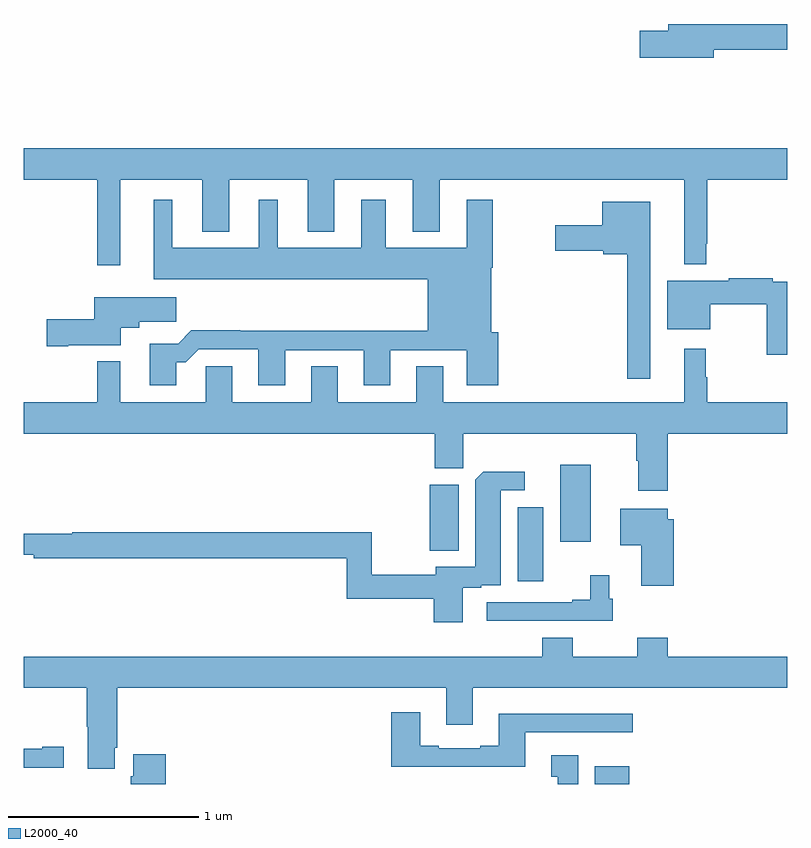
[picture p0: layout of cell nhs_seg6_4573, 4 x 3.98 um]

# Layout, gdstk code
import gdstk
lib = gdstk.Library(unit=1e-6, precision=1e-09)
def R(c, l, rs):  # rectangles x0, y0, x1, y1
    for r in rs: c.add(gdstk.rectangle(r[:2], r[2:], *l))
def P(c, l, *ps):  # polygons
    for p in ps: c.add(gdstk.Polygon(p, *l))
L2000_40 = (2000, 40)

nhs_seg6_4573 = lib.new_cell('nhs_seg6_4573')
R(nhs_seg6_4573, L2000_40, [(383.993,945.5,384.172,945.592), (383.588,946.562,383.722,946.951), (383.126,946.723,383.278,947.07), (383.81,946.77,383.971,947.173)])
P(nhs_seg6_4573, L2000_40, [(384.616,949.348),(385,949.348),(385,949.484),(384.377,949.484),(384.377,949.448),(384.228,949.448),(384.228,949.306),(384.616,949.306)],
  [(381.505,948.668),(381.935,948.668),(381.935,948.395),(382.075,948.395),(382.075,948.668),(382.487,948.668),(382.487,948.395),(382.627,948.395),(382.627,948.668),(383.039,948.668),(383.039,948.395),(383.179,948.395),(383.179,948.668),(384.461,948.668),(384.461,948.224),(384.576,948.224),(384.576,948.331),(384.583,948.331),(384.583,948.668),(385,948.668),(385,948.832),(381,948.832),(381,948.668),(381.384,948.668),(381.384,948.219),(381.505,948.219)],
  [(381.799,947.711),(381.848,947.711),(381.915,947.778),(382.229,947.778),(382.229,947.589),(382.369,947.589),(382.369,947.775),(382.781,947.775),(382.781,947.589),(382.921,947.589),(382.921,947.775),(383.321,947.775),(383.321,947.589),(383.486,947.589),(383.486,947.868),(383.449,947.868),(383.449,948.206),(383.457,948.206),(383.457,948.562),(383.321,948.562),(383.321,948.31),(382.897,948.31),(382.897,948.562),(382.769,948.562),(382.769,948.31),(382.33,948.31),(382.33,948.562),(382.232,948.562),(382.232,948.31),(381.778,948.31),(381.778,948.562),(381.68,948.562),(381.68,948.146),(383.117,948.146),(383.117,947.876),(382.133,947.876),(382.133,947.879),(381.878,947.879),(381.808,947.809),(381.659,947.809),(381.659,947.589),(381.799,947.589)],
  [(384.283,948.553),(384.032,948.553),(384.032,948.43),(383.784,948.43),(383.784,948.296),(384.036,948.296),(384.036,948.278),(384.162,948.278),(384.162,947.625),(384.283,947.625)],
  [(385,948.132),(384.926,948.132),(384.926,948.152),(384.694,948.152),(384.694,948.139),(384.371,948.139),(384.371,947.885),(384.598,947.885),(384.598,948.016),(384.895,948.016),(384.895,947.751),(385,947.751)],
  [(381.232,947.801),(381.508,947.801),(381.508,947.891),(381.604,947.891),(381.604,947.923),(381.799,947.923),(381.799,948.052),(381.368,948.052),(381.368,947.936),(381.12,947.936),(381.12,947.794),(381.232,947.794)],
  [(384.374,947.336),(385,947.336),(385,947.5),(384.583,947.5),(384.583,947.633),(384.575,947.633),(384.575,947.782),(384.461,947.782),(384.461,947.5),(383.197,947.5),(383.197,947.69),(383.057,947.69),(383.057,947.5),(382.645,947.5),(382.645,947.69),(382.505,947.69),(382.505,947.5),(382.093,947.5),(382.093,947.69),(381.954,947.69),(381.954,947.5),(381.505,947.5),(381.505,947.716),(381.384,947.716),(381.384,947.5),(381,947.5),(381,947.336),(383.153,947.336),(383.153,947.155),(383.303,947.155),(383.303,947.336),(384.209,947.336),(384.209,947.195),(384.221,947.195),(384.221,947.037),(384.374,947.037)],
  [(383.299,946.53),(383.396,946.53),(383.396,946.542),(383.5,946.542),(383.5,947.04),(383.626,947.04),(383.626,947.138),(383.407,947.138),(383.366,947.096),(383.366,946.638),(383.159,946.638),(383.159,946.598),(382.822,946.598),(382.822,946.82),(381.254,946.82),(381.254,946.813),(381,946.813),(381,946.703),(381.052,946.703),(381.052,946.684),(382.693,946.684),(382.693,946.47),(383.147,946.47),(383.147,946.347),(383.299,946.347)],
  [(384.407,946.887),(384.376,946.887),(384.376,946.942),(384.125,946.942),(384.125,946.751),(384.236,946.751),(384.236,946.539),(384.407,946.539)],
  [(384.086,946.47),(384.067,946.47),(384.067,946.594),(383.968,946.594),(383.968,946.465),(383.873,946.465),(383.873,946.452),(383.427,946.452),(383.427,946.356),(384.086,946.356)],
  [(381.475,945.691),(381.488,945.691),(381.488,946.004),(383.213,946.004),(383.213,945.81),(383.353,945.81),(383.353,946.004),(385,946.004),(385,946.168),(384.374,946.168),(384.374,946.267),(384.214,946.267),(384.214,946.168),(383.877,946.168),(383.877,946.267),(383.717,946.267),(383.717,946.168),(381,946.168),(381,946.004),(381.328,946.004),(381.328,945.8),(381.335,945.8),(381.335,945.579),(381.475,945.579)],
  [(383.629,945.771),(384.19,945.771),(384.19,945.868),(383.489,945.868),(383.489,945.7),(383.393,945.7),(383.393,945.687),(383.173,945.687),(383.173,945.7),(383.077,945.7),(383.077,945.877),(382.925,945.877),(382.925,945.59),(383.629,945.59)],
  [(381.208,945.694),(381.095,945.694),(381.095,945.684),(381,945.684),(381,945.584),(381.208,945.584)],
  [(381.743,945.655),(381.572,945.655),(381.572,945.54),(381.56,945.54),(381.56,945.5),(381.743,945.5)],
  [(383.905,945.652),(383.765,945.652),(383.765,945.539),(383.798,945.539),(383.798,945.5),(383.905,945.5)])

lib.write_gds('nhs_seg6_4573.gds')
